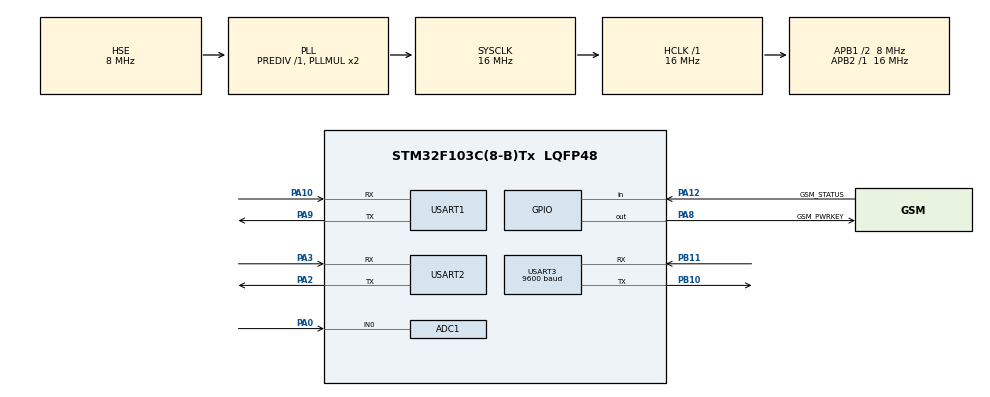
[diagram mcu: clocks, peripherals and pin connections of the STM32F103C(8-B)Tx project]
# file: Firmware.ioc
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ADC1.Channel-0\#ChannelRegularConversion=ADC_CHANNEL_0
ADC1.NbrOfConversionFlag=1
ADC1.Rank-0\#ChannelRegularConversion=1
ADC1.SamplingTime-0\#ChannelRegularConversion=ADC_SAMPLETIME_1CYCLE_5
ADC1.master=1
FREERTOS.Tasks01=defaultTask,24,128,StartDefaultTask,Default,NULL,Dynamic,NULL,NULL
Mcu.Family=STM32F1
Mcu.Name=STM32F103C(8-B)Tx
Mcu.Package=LQFP48
NVIC.PriorityGroup=NVIC_PRIORITYGROUP_4
NVIC.TIM1_UP_IRQn=true\:15\:0\:false\:false\:true\:false\:false\:true
NVIC.TimeBase=TIM1_UP_IRQn
NVIC.TimeBaseIP=TIM1
NVIC.USART2_IRQn=true\:5\:0\:false\:false\:true\:true\:true\:true
PA0-WKUP.Signal=ADCx_IN0
PA10.Mode=Asynchronous
PA10.Signal=USART1_RX
PA12.GPIO_Label=GSM_STATUS
PA12.Signal=GPIO_Input
PA13.Mode=Serial_Wire
PA13.Signal=SYS_JTMS-SWDIO
PA14.Mode=Serial_Wire
PA14.Signal=SYS_JTCK-SWCLK
PA2.Mode=Asynchronous
PA2.Signal=USART2_TX
PA3.Mode=Asynchronous
PA3.Signal=USART2_RX
PA8.GPIO_Label=GSM_PWRKEY
PA8.GPIO_Speed=GPIO_SPEED_FREQ_HIGH
PA8.Signal=GPIO_Output
PA9.Mode=Asynchronous
PA9.Signal=USART1_TX
PB10.Mode=Asynchronous
PB10.Signal=USART3_TX
PB11.Mode=Asynchronous
PB11.Signal=USART3_RX
PD0-OSC_IN.Mode=HSE-External-Oscillator
PD0-OSC_IN.Signal=RCC_OSC_IN
PD1-OSC_OUT.Mode=HSE-External-Oscillator
PD1-OSC_OUT.Signal=RCC_OSC_OUT
ProjectManager.HeapSize=0x200
ProjectManager.StackSize=0x400
ProjectManager.TargetToolchain=Makefile
RCC.AHBFreq_Value=16000000
RCC.APB1CLKDivider=RCC_HCLK_DIV2
RCC.APB1Freq_Value=8000000
RCC.APB1TimFreq_Value=16000000
RCC.APB2Freq_Value=16000000
RCC.APB2TimFreq_Value=16000000
RCC.HCLKFreq_Value=16000000
RCC.PLLSourceVirtual=RCC_PLLSOURCE_HSE
RCC.SYSCLKFreq_VALUE=16000000
RCC.SYSCLKSource=RCC_SYSCLKSOURCE_PLLCLK
RCC.USBFreq_Value=16000000
SH.ADCx_IN0.0=ADC1_IN0,IN0
USART1.VirtualMode=VM_ASYNC
USART2.VirtualMode=VM_ASYNC
USART3.BaudRate=9600
USART3.VirtualMode=VM_ASYNC
VP_FREERTOS_VS_CMSIS_V2.Mode=CMSIS_V2
VP_SYS_VS_tim1.Mode=TIM1
board=custom

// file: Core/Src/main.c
/* USER CODE BEGIN Header */
/**
  ******************************************************************************
  * @file           : main.c
  * @brief          : Main program body
  ******************************************************************************
  * @attention
  *
  * <h2><center>&copy; Copyright (c) 2022 STMicroelectronics.
  * All rights reserved.</center></h2>
  *
  * This software component is licensed by ST under BSD 3-Clause license,
  * the "License"; You may not use this file except in compliance with the
  * License. You may obtain a copy of the License at:
  *                        opensource.org/licenses/BSD-3-Clause
  *
  ******************************************************************************
  */
/* USER CODE END Header */
#include "main.h"
#include "cmsis_os.h"
#include "adc.h"
#include "usart.h"
#include "gpio.h"

/* USER CODE BEGIN Includes */
#include "MQTTSim800.h"
#include "l70.h"
/* USER CODE END Includes */

/* USER CODE BEGIN PV */
SIM800_t SIM800;
/* USER CODE END PV */

void SystemClock_Config(void);
void MX_FREERTOS_Init(void);

/* USER CODE BEGIN 0 */
void HAL_UART_RxCpltCallback(UART_HandleTypeDef *huart)
{
  if(huart == &huart2)
  {
    Sim800_RxCallBack();
  }
  else if(huart == &huart3)
  {
    l70_callback();
  }
}
/* USER CODE END 0 */

int main(void)
{

  /* MCU Configuration--------------------------------------------------------*/

  /* Reset of all peripherals, Initializes the Flash interface and the Systick. */
  HAL_Init();

  /* Configure the system clock */
  SystemClock_Config();

  /* Initialize all configured peripherals */
  MX_GPIO_Init();
  MX_USART1_UART_Init();
  MX_USART2_UART_Init();
  MX_USART3_UART_Init();
  MX_ADC1_Init();

  /* Init scheduler */
  osKernelInitialize();  /* Call init function for freertos objects (in freertos.c) */
  MX_FREERTOS_Init();
  /* Start scheduler */
  osKernelStart();

  /* We should never get here as control is now taken by the scheduler */
  /* Infinite loop */
  while (1)
  {

  }
}

void SystemClock_Config(void)
{
  RCC_OscInitTypeDef RCC_OscInitStruct = {0};
  RCC_ClkInitTypeDef RCC_ClkInitStruct = {0};
  RCC_PeriphCLKInitTypeDef PeriphClkInit = {0};

  /** Initializes the RCC Oscillators according to the specified parameters
  * in the RCC_OscInitTypeDef structure.
  */
  RCC_OscInitStruct.OscillatorType = RCC_OSCILLATORTYPE_HSE;
  RCC_OscInitStruct.HSEState = RCC_HSE_ON;
  RCC_OscInitStruct.HSEPredivValue = RCC_HSE_PREDIV_DIV1;
  RCC_OscInitStruct.HSIState = RCC_HSI_ON;
  RCC_OscInitStruct.PLL.PLLState = RCC_PLL_ON;
  RCC_OscInitStruct.PLL.PLLSource = RCC_PLLSOURCE_HSE;
  RCC_OscInitStruct.PLL.PLLMUL = RCC_PLL_MUL2;
  if (HAL_RCC_OscConfig(&RCC_OscInitStruct) != HAL_OK)
  {
    Error_Handler();
  }
  /** Initializes the CPU, AHB and APB buses clocks
  */
  RCC_ClkInitStruct.ClockType = RCC_CLOCKTYPE_HCLK|RCC_CLOCKTYPE_SYSCLK
                              |RCC_CLOCKTYPE_PCLK1|RCC_CLOCKTYPE_PCLK2;
  RCC_ClkInitStruct.SYSCLKSource = RCC_SYSCLKSOURCE_PLLCLK;
  RCC_ClkInitStruct.AHBCLKDivider = RCC_SYSCLK_DIV1;
  RCC_ClkInitStruct.APB1CLKDivider = RCC_HCLK_DIV2;
  RCC_ClkInitStruct.APB2CLKDivider = RCC_HCLK_DIV1;

  if (HAL_RCC_ClockConfig(&RCC_ClkInitStruct, FLASH_LATENCY_0) != HAL_OK)
  {
    Error_Handler();
  }
  PeriphClkInit.PeriphClockSelection = RCC_PERIPHCLK_ADC;
  PeriphClkInit.AdcClockSelection = RCC_ADCPCLK2_DIV2;
  if (HAL_RCCEx_PeriphCLKConfig(&PeriphClkInit) != HAL_OK)
  {
    Error_Handler();
  }
}

void HAL_TIM_PeriodElapsedCallback(TIM_HandleTypeDef *htim)
{
  if (htim->Instance == TIM1) {
    HAL_IncTick();
  }
}

void Error_Handler(void)
{
  __disable_irq();
  while (1)
  {
  }
}

/************************ (C) COPYRIGHT STMicroelectronics *****END OF FILE****/

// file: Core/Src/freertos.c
/* USER CODE BEGIN Header */
/**
  ******************************************************************************
  * File Name          : freertos.c
  * Description        : Code for freertos applications
  ******************************************************************************
  * @attention
  *
  * <h2><center>&copy; Copyright (c) 2022 STMicroelectronics.
  * All rights reserved.</center></h2>
  *
  * This software component is licensed by ST under Ultimate Liberty license
  * SLA0044, the "License"; You may not use this file except in compliance with
  * the License. You may obtain a copy of the License at:
  *                             www.st.com/SLA0044
  *
  ******************************************************************************
  */
/* USER CODE END Header */

#include "FreeRTOS.h"
#include "task.h"
#include "main.h"
#include "cmsis_os.h"

/* USER CODE BEGIN Includes */
#include "MQTTSim800.h"
#include "event_groups.h"
#include "queue.h"
#include "l70.h"
/* USER CODE END Includes */

/* USER CODE BEGIN PTD */
// #define BIT_SEND_SMS        (1 << 0)
#define BIT_RECEIVE_GPS     (1 << 1)
/* USER CODE END PTD */

/* USER CODE BEGIN Variables */
extern SIM800_t SIM800;
char sim_number[15] = {0};
EventGroupHandle_t event_group;
EventBits_t event_bits;
QueueHandle_t latitude_queue, longitude_queue;
TaskHandle_t sms_handler, gps_handler, tracking_gps_handler, init_sim_handler;
extern UART_HandleTypeDef huart1;
extern UART_HandleTypeDef huart2;
extern UART_HandleTypeDef huart3;

/* USER CODE END Variables */
/* Definitions for defaultTask */
osThreadId_t defaultTaskHandle;
const osThreadAttr_t defaultTask_attributes = {
  .name = "defaultTask",
  .stack_size = 128 * 4,
  .priority = (osPriority_t) osPriorityNormal,
};

void StartDefaultTask(void *argument);

void MX_FREERTOS_Init(void); /* (MISRA C 2004 rule 8.1) */

void MX_FREERTOS_Init(void) {

  /* USER CODE BEGIN RTOS_QUEUES */
  /* add queues, ... */
  latitude_queue = xQueueCreate(20, sizeof(uint8_t));
  longitude_queue = xQueueCreate(20, sizeof(uint8_t));
  /* USER CODE END RTOS_QUEUES */

  /* Create the thread(s) */
  /* creation of defaultTask */
  // defaultTaskHandle = osThreadNew(StartDefaultTask, NULL, &defaultTask_attributes);

  /* USER CODE BEGIN RTOS_THREADS */
  /* add threads, ... */
  xTaskCreate(vTaskSendSMS, "vTaskSendSMS", 128, NULL, 5, sms_handler);
  xTaskCreate(vTaskReceiveGPS, "vTaskReceiveGPS", 256, NULL, 5, gps_handler);
  xTaskCreate(vTaskTrackingGPS, "vTaskTrackingGPS", 128, NULL, 5, tracking_gps_handler);
  // xTaskCreate(vTaskInitSim, "vTaskInitSim", 128, NULL, 10, init_sim_handler);
  event_group = xEventGroupCreate();
  /* USER CODE END RTOS_THREADS */

}

// void StartDefaultTask(void *argument)
// {
//   /* USER CODE BEGIN StartDefaultTask */
//   /* Infinite loop */
//   for(;;)
//   {
//     osDelay(1);
//   }
//   /* USER CODE END StartDefaultTask */
// }

/* USER CODE BEGIN Application */

void vTaskSendSMS(void *argument)
{
  char smsATCommand[50] = {0};
  char endSMS[2] = {0};
  endSMS[0] = 0x1A;
  endSMS[1] = '\0';
  char latData[15] = {0};
  char longData[15] = {0};
  char simMessage[100] = {0};
  while(HAL_GPIO_ReadPin(GSM_STATUS_GPIO_Port, GSM_STATUS_Pin) == GPIO_PIN_RESET)
  {
    HAL_GPIO_WritePin(GSM_PWRKEY_GPIO_Port, GSM_PWRKEY_Pin, SET);
    osDelay(1000);
  }
  // MQTT_Init();
  sim_init();
  sprintf(smsATCommand, "AT+CMGS=\"%s\"\r\n", sim_number);
  for(;;)
  {
    if(SIM800.sms == true)
    {
      xEventGroupSetBits(event_group, BIT_RECEIVE_GPS);
      vTaskSuspend(gps_handler);
      SIM800_SendCommand("AT+CMGF=1\r\n", "OK\r\n", CMD_DELAY);
      SIM800_SendCommand(smsATCommand, ">", CMD_DELAY);
      xQueueReceive(latitude_queue, (void*)latData, (TickType_t)1);
      xQueueReceive(longitude_queue, (void*)longData, (TickType_t)1);
      sprintf(simMessage, "https://www.google.com/maps/search/?api=1&query=%s,%s\n", latData, longData);
      HAL_UART_Transmit_IT(&huart2, (uint8_t*)simMessage, strlen(simMessage));
      vTaskDelay(1);
      HAL_UART_Transmit_IT(&huart2, (uint8_t*)endSMS, 1);
      SIM800.sms == false;
    }
  }
}

void vTaskReceiveGPS(void *argument)
{
  char latData[15] = {0};
  char longData[15] = {0};
  char *gps_response;
  // while(HAL_GPIO_ReadPin(GSM_STATUS_GPIO_Port, GSM_STATUS_Pin) == GPIO_PIN_RESET)
  // {
  //   HAL_GPIO_WritePin(GSM_PWRKEY_GPIO_Port, GSM_PWRKEY_Pin, SET);
  //   vTaskDelay(1000);
  // }
  sim_init();
  vTaskDelay(100);
  l70_init();
  for(;;)
  {
    event_bits = xEventGroupWaitBits(event_group, BIT_RECEIVE_GPS, pdTRUE, pdFALSE, (TickType_t)1);
    if(event_bits & BIT_RECEIVE_GPS)
    {
      gps_response = l70_receiveGPS();
      l70_handleGPS(latData, longData, gps_response);
      xQueueSend(latitude_queue, (void*)&latData, (TickType_t)1);
      xQueueSend(longitude_queue, (void*)&longData, (TickType_t)1);
      vTaskResume(gps_handler);
    }
  }
}

void vTaskTrackingGPS(void *argument)
{
  char latData[15] = {0};
  char longData[15] = {0};
  char *gps_response;
  for(;;)
  {
    if(SIM800.tracking == true)
    {

    }
  }
}
/* USER CODE END Application */

/************************ (C) COPYRIGHT STMicroelectronics *****END OF FILE****/
